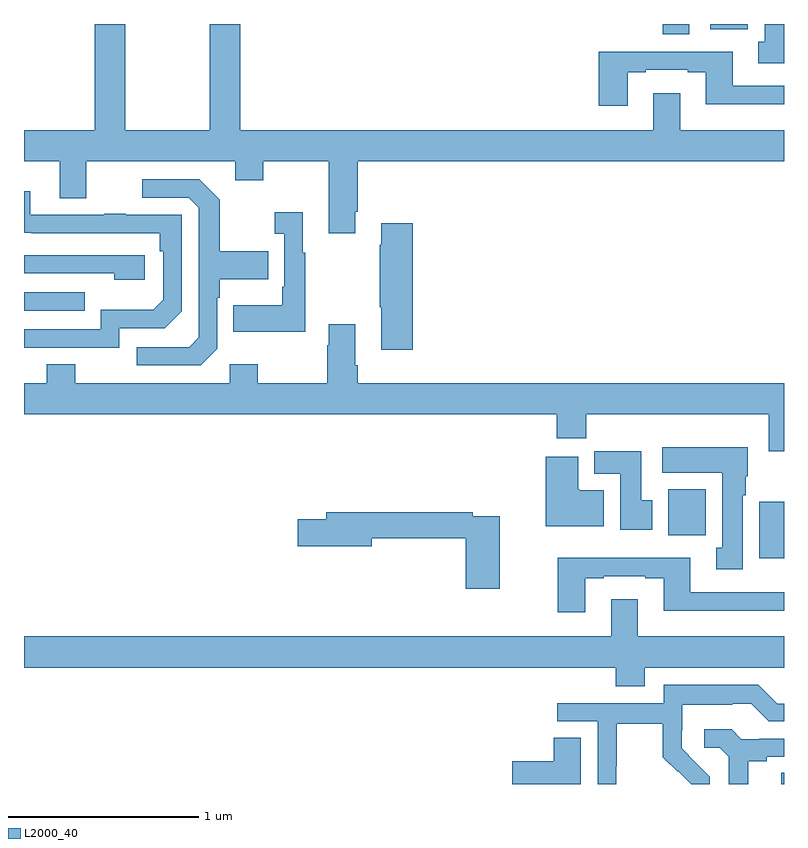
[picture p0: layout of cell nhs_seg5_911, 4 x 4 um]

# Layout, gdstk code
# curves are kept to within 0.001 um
import gdstk
lib = gdstk.Library(unit=1e-6, precision=1e-09)
def R(c, l, rs):  # rectangles x0, y0, x1, y1
    for r in rs: c.add(gdstk.rectangle(r[:2], r[2:], *l))
def P(c, l, *ps):  # polygons
    for p in ps: c.add(gdstk.Polygon(p, *l))
L2000_40 = (2000, 40)

nhs_seg5_911 = lib.new_cell('nhs_seg5_911')
R(nhs_seg5_911, L2000_40, [(172.985,870.799,173,870.857), (172.871,871.988,173,872.284), (172.391,872.108,172.588,872.35), (169,873.291,169.319,873.387), (172.361,874.745,172.501,874.799), (172.613,874.772,172.81,874.799)])
P(nhs_seg5_911, L2000_40, [(170.743,873.811),(170.756,873.811),(170.756,874.076),(173,874.076),(173,874.24),(172.453,874.24),(172.453,874.435),(172.313,874.435),(172.313,874.24),(170.138,874.24),(170.138,874.799),(169.978,874.799),(169.978,874.24),(169.533,874.24),(169.533,874.799),(169.373,874.799),(169.373,874.24),(169,874.24),(169,874.076),(169.187,874.076),(169.187,873.882),(169.327,873.882),(169.327,874.076),(170.111,874.076),(170.111,873.977),(170.259,873.977),(170.259,874.076),(170.603,874.076),(170.603,873.699),(170.743,873.699)],
  [(173,874.799),(172.898,874.799),(172.898,874.706),(172.865,874.706),(172.865,874.593),(173,874.593)],
  [(172.177,874.545),(172.273,874.545),(172.273,874.557),(172.493,874.557),(172.493,874.545),(172.589,874.545),(172.589,874.376),(173,874.376),(173,874.473),(172.729,874.473),(172.729,874.653),(172.269,874.653),(172.269,874.654),(172.025,874.654),(172.025,874.368),(172.177,874.368)],
  [(170.016,873.09),(170.016,873.359),(170.029,873.359),(170.029,873.455),(170.285,873.455),(170.285,873.603),(170.029,873.603),(170.029,873.875),(169.923,873.981),(169.623,873.981),(169.623,873.885),(169.866,873.885),(169.92,873.831),(169.92,873.15),(169.869,873.099),(169.593,873.099),(169.593,873.003),(169.929,873.003)],
  [(169.5,873.198),(169.74,873.198),(169.83,873.288),(169.83,873.795),(169.535,873.795),(169.535,873.8),(169.423,873.8),(169.423,873.795),(169.033,873.795),(169.033,873.919),(169,873.919),(169,873.7),(169.714,873.699),(169.714,873.602),(169.734,873.602),(169.734,873.348),(169.681,873.295),(169.404,873.295),(169.404,873.192),(169,873.192),(169,873.096),(169.5,873.096)],
  [(170.479,873.595),(170.467,873.595),(170.467,873.808),(170.319,873.808),(170.319,873.695),(170.37,873.695),(170.37,873.415),(170.358,873.415),(170.358,873.319),(170.101,873.319),(170.101,873.179),(170.479,873.179)],
  [(171.047,873.751),(170.879,873.751),(170.879,873.638),(170.872,873.638),(170.872,873.307),(170.879,873.307),(170.879,873.084),(171.047,873.084)],
  [(169.636,873.582),(169,873.582),(169,873.486),(169.475,873.486),(169.475,873.452),(169.636,873.452)],
  [(173,872.908),(170.756,872.908),(170.756,873.004),(170.743,873.004),(170.743,873.22),(170.603,873.22),(170.603,873.107),(170.596,873.107),(170.596,872.908),(170.229,872.908),(170.229,873.007),(170.082,873.007),(170.082,872.908),(169.269,872.908),(169.269,873.007),(169.121,873.007),(169.121,872.908),(169,872.908),(169,872.744),(171.803,872.744),(171.803,872.62),(171.959,872.62),(171.959,872.744),(172.919,872.744),(172.919,872.55),(173,872.55)],
  [(172.783,872.318),(172.798,872.318),(172.798,872.418),(172.81,872.418),(172.81,872.572),(172.359,872.572),(172.359,872.438),(172.676,872.438),(172.676,872.042),(172.643,872.042),(172.643,871.929),(172.783,871.929)],
  [(172.306,872.292),(172.249,872.292),(172.249,872.55),(172.001,872.55),(172.001,872.432),(172.139,872.432),(172.139,872.136),(172.306,872.136)],
  [(172.051,872.344),(171.922,872.344),(171.922,872.35),(171.916,872.35),(171.916,872.521),(171.746,872.521),(171.746,872.156),(172.051,872.156)],
  [(171.504,872.208),(171.362,872.208),(171.362,872.228),(170.591,872.228),(170.591,872.192),(170.442,872.192),(170.442,872.05),(170.83,872.05),(170.83,872.092),(171.326,872.092),(171.326,871.827),(171.504,871.827)],
  [(171.955,871.881),(172.051,871.881),(172.051,871.893),(172.271,871.893),(172.271,871.881),(172.367,871.881),(172.367,871.712),(173,871.712),(173,871.809),(172.507,871.809),(172.507,871.99),(171.808,871.99),(171.808,871.704),(171.955,871.704)],
  [(172.267,871.412),(173,871.412),(173,871.576),(172.231,871.576),(172.231,871.771),(172.091,871.771),(172.091,871.576),(169,871.576),(169,871.412),(172.115,871.412),(172.115,871.313),(172.267,871.313)],
  [(172.116,870.892),(172.119,870.892),(172.119,871.116),(172.363,871.116),(172.363,870.941),(172.44,870.864),(172.443,870.867),(172.512,870.799),(172.608,870.799),(172.608,870.838),(172.462,870.986),(172.462,871.083),(172.464,871.083),(172.464,871.217),(172.727,871.217),(172.727,871.221),(172.827,871.221),(172.92,871.128),(173,871.128),(173,871.221),(172.965,871.221),(172.865,871.321),(172.368,871.321),(172.368,871.224),(171.807,871.224),(171.807,871.128),(172.02,871.128),(172.02,870.799),(172.116,870.799)],
  [(172.813,870.92),(172.909,870.92),(172.909,870.942),(173,870.942),(173,871.038),(172.87,871.038),(172.87,871.035),(172.776,871.035),(172.724,871.087),(172.581,871.087),(172.581,870.99),(172.662,870.99),(172.709,870.943),(172.709,870.799),(172.813,870.799)],
  [(171.931,871.043),(171.788,871.043),(171.788,870.92),(171.57,870.92),(171.57,870.799),(171.931,870.799)])

lib.write_gds('nhs_seg5_911.gds')
